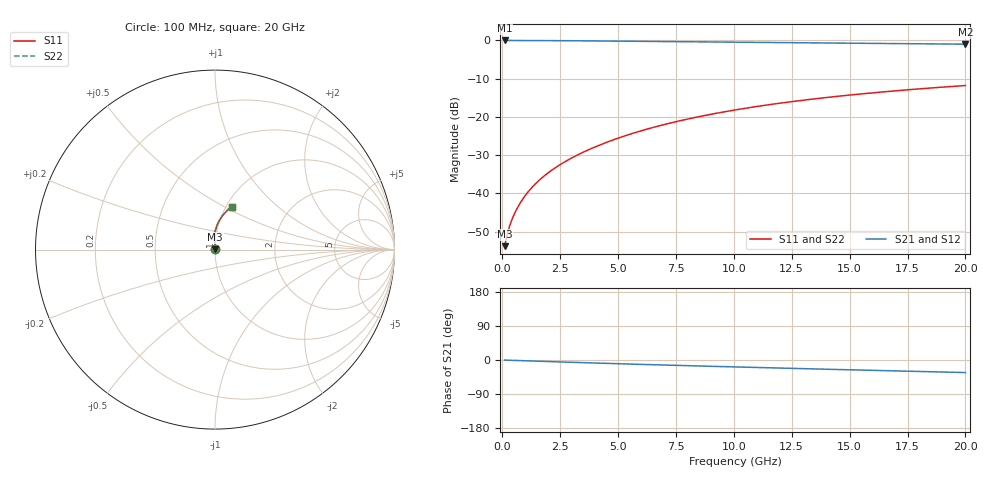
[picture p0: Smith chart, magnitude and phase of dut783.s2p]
! Touchstone file exported from HFSS 2024.1.0
!  File:  C:/UserFiles/LocalFiles/RDL_TSV_Batchsim/temp_RDL_bottom_783_1779861147.aedt
!  Generated:  01:54:39 PM May 27, 2026
!  Design:  RDL_bottom
!  Project:  temp_RDL_bottom_783_1779861147
!  Setup:  Setup1
!  Solution:  Sweep
! Variables:
!  dtsv = 10.80580581um
!  hbump = 3um
!  htsv = 63.7um
!  ldown = 504.72um
!  lrdl = 100um
!  p = 40
!  p1 = 49.52um
!  rhole = 1um
!  t = 450um
!  tdown = 4.25um
!  trdl = 3.915915916um
!  wdown = 28.46um
!  wrdl = 20um
# GHz S MA R 50.000000
! Terminal data exported
! Port[1] = RDL1_T1
! Port[2] = RDL1_T2
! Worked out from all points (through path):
!   200 points, 100 MHz to 20 GHz, reference 50 ohm
!   highest |S21| = -0.02 dB at 100 MHz (marker M1); lowest = -1.0 dB at 20 GHz (marker M2)
!   group delay of S21, straight-line fit = 4.53 ps
!   lowest |S11| = -53.8 dB at 100 MHz (marker M3), VSWR 1.00, Z = 50.2 + j0.112 ohm
!   |S11| at or under -10 dB: start of sweep to end of sweep
!   |S22| runs from -53.8 to -11.8 dB; largest |S21 - S12| = 3.4e-15
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0.1  0.002043 33.1  0.9983 -0.2  0.9983 -0.2  0.002043 33.1
! Gamma 0 0 0 0
! Port Impedance 50 0 50 0
0.2  0.002814 48.8  0.9981 -0.4  0.9981 -0.4  0.002814 48.8
0.3  0.003613 57.1  0.9979 -0.6  0.9979 -0.6  0.003613 57.1
0.4  0.004409 62.7  0.9977 -0.8  0.9977 -0.8  0.004408 62.7
0.5  0.005213 66.9  0.9976 -1.1  0.9976 -1.1  0.005212 66.9
0.6  0.006031 70.2  0.9974 -1.3  0.9974 -1.3  0.006031 70.2
0.8  0.007715 75.1  0.9971 -1.7  0.9971 -1.7  0.007714 75.1
1.1  0.01034 80.0  0.9965 -2.3  0.9965 -2.3  0.01034 80.0
1.3  0.01214 82.3  0.9961 -2.7  0.9961 -2.7  0.01214 82.3
1.6  0.01492 84.8  0.9952 -3.3  0.9952 -3.3  0.01492 84.9
2.1  0.01975 87.8  0.9936 -4.3  0.9936 -4.3  0.01975 87.9
2.7  0.02587 90.2  0.9911 -5.5  0.9911 -5.5  0.02587 90.2
3.5  0.03462 92.0  0.9871 -7.0  0.9871 -7.0  0.03463 92.0
4.2  0.04281 92.8  0.9832 -8.4  0.9832 -8.4  0.04282 92.8
5  0.05273 93.1  0.9783 -9.8  0.9783 -9.8  0.05276 93.1
6.8  0.07679 91.9  0.967 -13.0  0.967 -13.0  0.07684 91.9
8.4  0.09942 89.7  0.9569 -15.6  0.9569 -15.6  0.09948 89.7
10.1  0.1239 86.7  0.9467 -18.4  0.9467 -18.4  0.124 86.8
11.7  0.1469 83.7  0.9374 -20.9  0.9374 -20.9  0.1471 83.8
13.4  0.171 80.5  0.9279 -23.5  0.9279 -23.5  0.1711 80.6
16.7  0.2157 74.4  0.91 -28.4  0.91 -28.4  0.2158 74.4
20  0.2571 68.5  0.8926 -33.2  0.8926 -33.2  0.2573 68.6
